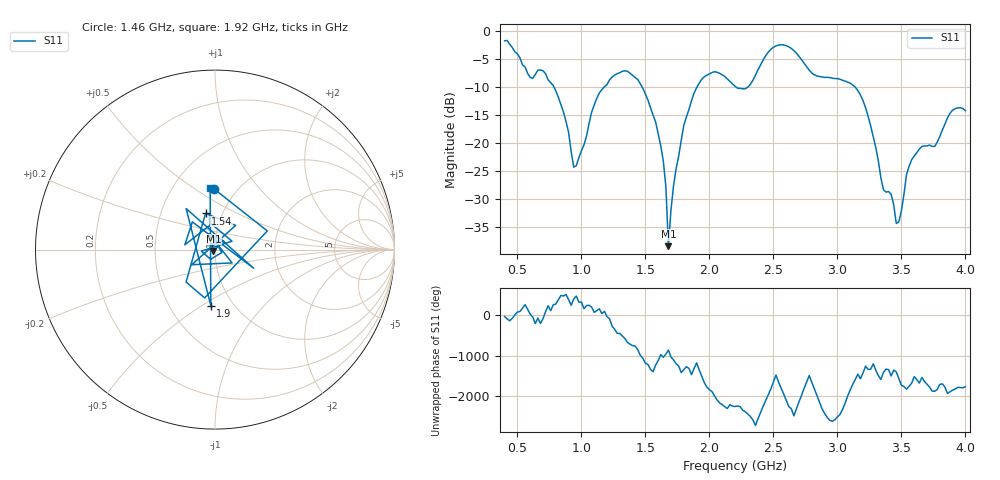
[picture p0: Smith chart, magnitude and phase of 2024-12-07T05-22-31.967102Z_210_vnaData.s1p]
!Created with skrf (http://scikit-rf.org).
# Hz S RI R 50.0
!freq ReS11 ImS11
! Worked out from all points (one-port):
!   181 points, 400 MHz to 4 GHz, reference 50 ohm
!   lowest |S11| = -38.5 dB at 1.68 GHz (marker M1), VSWR 1.02, Z = 49.1 - j0.765 ohm
!   |S11| at or under -10 dB: 786.5 MHz to 1.176 GHz (389.7 MHz wide, 39.7 % of centre); 1.475 GHz to 1.902 GHz (426.7 MHz wide, 25.3 % of centre); 3.14 GHz to end of sweep (the widest 3 of 4)
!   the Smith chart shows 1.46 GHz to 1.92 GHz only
!   S11 on the Smith chart (normalised r, x): 1.46 GHz: 0.78, +0.60; 1.54 GHz: 0.83, +0.35; 1.9 GHz: 0.79, -0.55; 1.92 GHz: 0.75, +0.59
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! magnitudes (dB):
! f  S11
! 400 MHz  -1.7
! 600 MHz  -8.3
! 720 MHz  -7.6
! 860 MHz  -14.4
! 960 MHz  -24.1
! 1.12 GHz  -12.0
! 1.3 GHz  -7.4
! 1.46 GHz  -9.4
! 1.54 GHz  -13.6
! 1.64 GHz  -23.3
! 1.66 GHz  -27.9
! 1.68 GHz  -38.5
! 1.72 GHz  -27.6
! 1.76 GHz  -22.3
! 1.9 GHz  -10.1
! 1.92 GHz  -9.3
! 2.2 GHz  -9.8
! 2.3 GHz  -10.0
! 2.5 GHz  -2.8
! 2.66 GHz  -3.4
! 3.1 GHz  -9.3
! 3.22 GHz  -13.7
! 3.36 GHz  -28.4
! 3.42 GHz  -29.2
! 3.46 GHz  -34.4
! 3.56 GHz  -24.2
! 3.9 GHz  -14.1
! 4 GHz  -14.2
